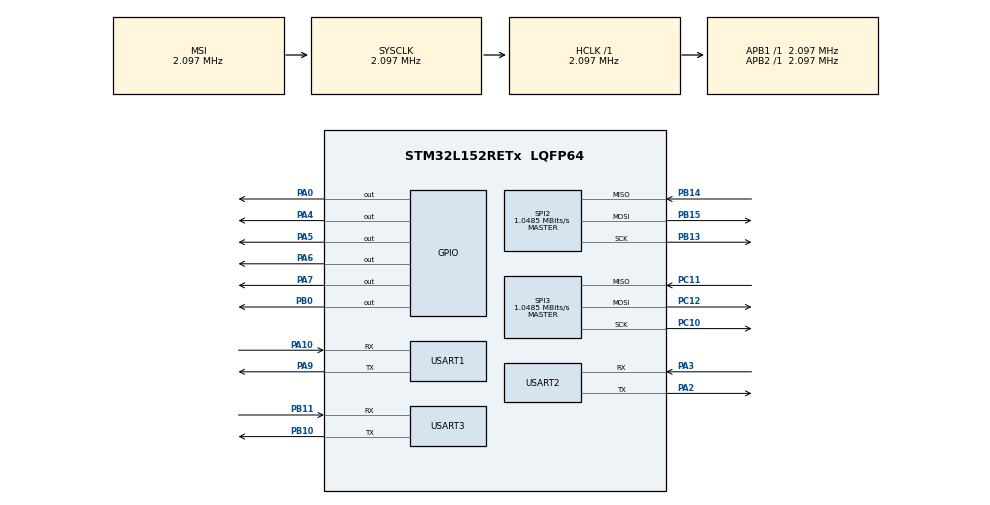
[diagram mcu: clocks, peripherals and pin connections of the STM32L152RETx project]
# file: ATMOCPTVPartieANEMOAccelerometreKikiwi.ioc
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Mcu.Family=STM32L1
Mcu.Name=STM32L152RETx
Mcu.Package=LQFP64
NVIC.PriorityGroup=NVIC_PRIORITYGROUP_4
PA0-WKUP1.Signal=GPIO_Output
PA10.Mode=Asynchronous
PA10.Signal=USART1_RX
PA2.Mode=Asynchronous
PA2.Signal=USART2_TX
PA3.Mode=Asynchronous
PA3.Signal=USART2_RX
PA4.Signal=GPIO_Output
PA5.Signal=GPIO_Output
PA6.Signal=GPIO_Output
PA7.Signal=GPIO_Output
PA9.Mode=Asynchronous
PA9.Signal=USART1_TX
PB0.Signal=GPIO_Output
PB10.Mode=Asynchronous
PB10.Signal=USART3_TX
PB11.Mode=Asynchronous
PB11.Signal=USART3_RX
PB13.Mode=Full_Duplex_Master
PB13.Signal=SPI2_SCK
PB14.Mode=Full_Duplex_Master
PB14.Signal=SPI2_MISO
PB15.Mode=Full_Duplex_Master
PB15.Signal=SPI2_MOSI
PC10.Mode=Full_Duplex_Master
PC10.Signal=SPI3_SCK
PC11.Mode=Full_Duplex_Master
PC11.Signal=SPI3_MISO
PC12.Mode=Full_Duplex_Master
PC12.Signal=SPI3_MOSI
PC14-OSC32_IN.Mode=LSE-External-Oscillator
PC14-OSC32_IN.Signal=RCC_OSC32_IN
PC15-OSC32_OUT.Mode=LSE-External-Oscillator
PC15-OSC32_OUT.Signal=RCC_OSC32_OUT
PH0-OSC_IN.Mode=HSE-External-Clock-Source
PH0-OSC_IN.Signal=RCC_OSC_IN
ProjectManager.HeapSize=0x200
ProjectManager.StackSize=0x400
ProjectManager.TargetToolchain=STM32CubeIDE
RCC.48MHZClocksFreq_Value=48000000
RCC.AHBFreq_Value=2097000
RCC.APB1Freq_Value=2097000
RCC.APB1TimFreq_Value=2097000
RCC.APB2Freq_Value=2097000
RCC.APB2TimFreq_Value=2097000
RCC.HCLKFreq_Value=2097000
RCC.HSE_VALUE=24000000
RCC.HSI_VALUE=16000000
RCC.MSI_VALUE=2097000
RCC.PLLDIV=RCC_PLL_DIV3
RCC.PLLMUL=RCC_PLL_MUL6
RCC.SYSCLKFreq_VALUE=2097000
RCC.VCOOutputFreq_Value=96000000
SPI2.BaudRatePrescaler=SPI_BAUDRATEPRESCALER_2
SPI2.CalculateBaudRate=1.0485 MBits/s
SPI2.Direction=SPI_DIRECTION_2LINES
SPI2.Mode=SPI_MODE_MASTER
SPI2.VirtualType=VM_MASTER
SPI3.BaudRatePrescaler=SPI_BAUDRATEPRESCALER_2
SPI3.CalculateBaudRate=1.0485 MBits/s
SPI3.Direction=SPI_DIRECTION_2LINES
SPI3.Mode=SPI_MODE_MASTER
SPI3.VirtualType=VM_MASTER
USART1.VirtualMode=VM_ASYNC
USART2.VirtualMode=VM_ASYNC
USART3.VirtualMode=VM_ASYNC
board=custom

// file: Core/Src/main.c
/* USER CODE BEGIN Header */
/**
  ******************************************************************************
  * @file           : main.c
  * @brief          : Main program body
  ******************************************************************************
  * @attention
  *
  * Copyright (c) 2025 STMicroelectronics.
  * All rights reserved.
  *
  * This software is licensed under terms that can be found in the LICENSE file
  * in the root directory of this software component.
  * If no LICENSE file comes with this software, it is provided AS-IS.
  *
  ******************************************************************************
  */

// %% Auteur du programme : PESCATORE MENARD
 	 	 	 	 	 	 	 	 	//%%%%%%%%%%%%%%%%%%%%%%%%%%%%%%%%%%%%%%%%%%%%%%%%%%%%%%%%%%%%%%%%%%%%%%%%%//
	      	       	         	    // 							CODE FINAL ATMOCPTV, partie 1 :				   //
									//contrôle des 3 capteurs météo, accéléromètre et transmissions UART Kikiwi//
	      	       	         	    //%%%%%%%%%%%%%%%%%%%%%%%%%%%%%%%%%%%%%%%%%%%%%%%%%%%%%%%%%%%%%%%%%%%%%%%%%//
// %% A l'ATTENTION DES UTILISATEURS : ce programme est fonctionnel et a été testé le 21/03/2025 en vue d'un lancement prévu initialement le 22/03/2025 %%
// %% A l'ATTENTION DES UTILISATEURS : la dernière modification des lignes de code date du 21/03/2025%%
// %% A l'ATTENTION DES UTILISATEURS : des lignes sont DELIBEREMENT présentes en double dans ce programme, NE PAS LES ENLEVER NI LES MODIFIER%%
// %% A l'ATTENTION DES UTILISATEURS : des lignes en doubles et les valeurs DELAIS ont été placés empiriquement pour optimiser la transmission Kikiwi %%
// %% A l'ATTENTION DES UTILISATEURS : toute modification des délais peut perturber gravement le processus de transmission par radio de la Kikiwi (la Kikiwi ne transmettrea plus les données des 3capteurs+ accéléromètre%%
// %% Pour toute question, vous pouvez me contacter via raphael.pescatore@gmail.com %%

/* USER CODE END Header */
#include "main.h"

/* USER CODE BEGIN Includes */
#include "BME.h"
#include "barometer.h"
#include <stdio.h>
#include <string.h>
#include "icm20948.h"
#include <string.h>
/* USER CODE END Includes */

SPI_HandleTypeDef hspi2;
SPI_HandleTypeDef hspi3;

UART_HandleTypeDef huart1;
UART_HandleTypeDef huart2;
UART_HandleTypeDef huart3;
#define XON 0x11
/* USER CODE BEGIN PV */

axises my_gyro;
axises my_accel;
axises my_mag;

extern uint32_t finalpressure_ref;
extern uint32_t final_humidity_ref;
extern int finaltemp_ref;
extern int temperature_raw_ref;
extern int pressure_raw_ref;

extern uint32_t finalpressure_N;
extern uint32_t final_humidity_N;
extern int finaltemp_N;
extern int pressure_raw_N;
/* USER CODE END PV */

void SystemClock_Config(void);
static void MX_GPIO_Init(void);
static void MX_USART2_UART_Init(void);
static void MX_SPI2_Init(void);
static void MX_SPI3_Init(void);
static void MX_USART1_UART_Init(void);
static void MX_USART3_UART_Init(void);
/* USER CODE BEGIN PFP */
int _write(int file, char *data, int len)
{
    HAL_UART_Transmit(&huart2, (uint8_t*)data, len, HAL_MAX_DELAY);
    return len;
}

/* USER CODE END PFP */

int main(void)
{

  /* USER CODE BEGIN 1 */
	    HAL_Init();
	    SystemClock_Config();

	    #define MAX_SAME_VALUE_COUNT 5

	    float last_accel_x = 0.0f;  // Dernière valeur de l'accéléromètre pour X
	    float last_accel_y = 0.0f;  // Dernière valeur de l'accéléromètre pour Y
	    int same_value_count_x = 0; // Compteur des mêmes valeurs pour X
	    int same_value_count_y = 0; // Compteur des mêmes valeurs pour Y
	    // Définition trames des données à envoyer à la carte Kikiwi
	    char buf2[48]; //75 octets, choix par sécurité, la taille est plus grande que 48 (limite Kikiwi)
	    uint8_t received_char; //1 octet, pour écouter les caractères XON avant d'envoyer nos mesures via le port série de la Kikiwi
  /* USER CODE END 1 */

  /* MCU Configuration--------------------------------------------------------*/

  /* Reset of all peripherals, Initializes the Flash interface and the Systick. */
  HAL_Init();

  /* Configure the system clock */
  SystemClock_Config();

  /* Initialize all configured peripherals */
  MX_GPIO_Init();
  MX_USART2_UART_Init();
  MX_SPI2_Init();
  MX_SPI3_Init();
  MX_USART1_UART_Init();
  MX_USART3_UART_Init();
  /* USER CODE BEGIN 2 */
  uint8_t data;
 		    printf("Coucou accéléromètre");
 		    icm20948_init();
 		     ak09916_init();
  /* USER CODE END 2 */

 		    /* Boucle infinie */
 		    /* USER CODE BEGIN WHILE */
 		   /* Configuration du capteur et initialisation des directions */
 		    HAL_Delay(1000);

 		    /* Activation, initialisation et désactivation de chaque capteur */

 		    BME280_CONFIG_SETUP_N();
 		      BME280_GET_COMP_VALS_N();
 		      HAL_Delay(1000);
 		    BME280_CONFIG_SETUP_ref();
 		    BME280_GET_COMP_VALS_ref();

 		    HAL_Delay(1000);

 		    Barometer_init_E();

 		    HAL_Delay(1000);

 		    BME280_CONFIG_SETUP_N();
 		        BME280_GET_COMP_VALS_N();

 		    printf("coucou Baromètre \n\r");
 		   int capture_count = 0;
	    while (1)
	    {
	        HAL_Delay(300);
	       // icm20948_wakeup();
	        // Lire les données des capteurs
	        icm20948_gyro_read_dps(&my_gyro);
	        icm20948_accel_read_g(&my_accel);
	        ak09916_mag_read_uT(&my_mag);

	        // Vérification pour l'axe X
	            if (my_accel.x == last_accel_x)
	            {
	                same_value_count_x++;
	            }
	            else
	            {
	                same_value_count_x = 0; // Réinitialiser le compteur si la valeur change
	            }

	            // Vérification pour l'axe Y
	            if (my_accel.y == last_accel_y)
	            {
	                same_value_count_y++;
	            }
	            else
	            {
	                same_value_count_y = 0; // Réinitialiser le compteur si la valeur change
	            }

	            // Si les valeurs de X et Y restent constantes pendant 5 itérations
	            if (same_value_count_x >= MAX_SAME_VALUE_COUNT && same_value_count_y >= MAX_SAME_VALUE_COUNT)
	            {
	                printf("Valeurs constantes détectées sur X et Y. Réinitialisation du programme.\n");

	                // Réinitialiser le capteur
	                icm20948_init();
	                ak09916_init();

	                // Réinitialiser les compteurs
	                same_value_count_x = 0;
	                same_value_count_y = 0;

	                // Réinitialisation éventuelle d'autres ressources si nécessaire
	            }

	            // Mettre à jour les dernières valeurs lues
	            last_accel_x = my_accel.x;
	            last_accel_y = my_accel.y;

	        // Afficher les données (ajouter vos fonctions d'affichage ici)
	        printf("Gyro: x = %f, y = %f, z = %f\n\r", my_gyro.x, my_gyro.y, my_gyro.z);
	        printf("Accel: x = %f, y = %f, z = %f\n\r", my_accel.x, my_accel.y, my_accel.z);
	        printf("Mag: x = %f, y = %f, z = %f\n\r", my_mag.x, my_mag.y, my_mag.z);
	      //  icm20948_sleep();

	        //%%%%%%%%%%%%%%%%%%%%%%%%%%%%%%%%%%%//
	      	       	         	         	        // PARTIE Transmission Accéléromètre//
	      	       	         	         	        //%%%%%%%%%%%%%%%%%%%%%%%%%%%%%%%%%%%//

	      	       	          			   // %%% transmission gyro%%%

	      	       	          	           snprintf(buf2, sizeof(buf2), "G %.2f ;%.2f ;%.2f ;\n",  my_gyro.x, my_gyro.y, my_gyro.z);
	      	       	          	           HAL_UART_Receive(&huart1, &received_char, 1, HAL_MAX_DELAY); // On attend  que la Kikiwi envoie XON

	      	       	          	           HAL_UART_Transmit(&huart1, (uint8_t*)buf2, strlen(buf2), HAL_MAX_DELAY); // transmission BME> Kikiwi au total 31 + 1(caractère \n ) octets
	      	       	          	     // HAL_Delay(1000);

	      	       	          	    // %%% transmission mag %%%
	      	       	          	   	       	          	           snprintf(buf2, sizeof(buf2), "M %.2f ;%.2f ;%.2f ;\n", my_mag.x,  my_mag.y, my_mag.z);
	      	       	          	   	       	          			  // HAL_UART_Receive(&huart1, &received_char, 1, HAL_MAX_DELAY); // On attend  que la Kikiwi envoie XON

	      	       	          	   	       	          			   HAL_UART_Transmit(&huart1, (uint8_t*)buf2, strlen(buf2), HAL_MAX_DELAY); // transmission BME> Kikiwi au total 31 + 1(caractère \n ) octets

	      	       	     	      	       	          	 //     HAL_Delay(1000);
	      	       	          	   	       	             /// TRANSMISSION DU NUMERO DE PAQUET et accélération///

	      	       	          	   	       	          HAL_Delay(3000);
	      	       	          	   	       	       	      	         snprintf(buf2, sizeof(buf2), "NumPaquet : %6d; A %.2f ;%.2f ;%.2f ;\n",capture_count++, my_accel.x,  my_accel.y, my_accel.z);
	      	       	          	   	       	       	      	       	      			   HAL_UART_Receive(&huart1, &received_char, 1, HAL_MAX_DELAY); // On attend  que la Kikiwi envoie XON

	      	       	          	   	       	       	      	       	      			   HAL_UART_Transmit(&huart1, (uint8_t*)buf2, strlen(buf2), HAL_MAX_DELAY); // transmission BME> Kikiwi au total 31 + 1(caractère \n ) octets

	      	       	          	   	       	       	      	         HAL_Delay(3000);
	      	       	          	   	       	       	      	       	 snprintf(buf2, sizeof(buf2), "%03d.%02d°C ;%d.%02d hPa ; %03d.%02d°C ;%d.%02d hPa ;\n", finaltemp_ref / 100, finaltemp_ref % 100, finalpressure_ref/100,finalpressure_ref%100,finaltemp_N / 100, finaltemp_N % 100, finalpressure_N/100,finalpressure_N%100);
	      	       	          	   	       	       	      	       		      			   HAL_UART_Receive(&huart1, &received_char, 1, HAL_MAX_DELAY); // On attend  que la Kikiwi envoie XON
	      	       	          	   	       	       	      	       		      			   // Cas où la chaîne KiwiRX est non vide> XON envoyé
	      	       	          	   	       	       	      	       		      			    HAL_UART_Transmit(&huart1, (uint8_t*)buf2, strlen(buf2), HAL_MAX_DELAY); // transmission BME> Kikiwi au total 31 + 1(caractère \n ) octets

	      	        //%%%%%%%%%%%%%%%%%%%%%%%%%%%%%%%%%%%//
	      	        // PARTIE BME//
	      	        //%%%%%%%%%%%%%%%%%%%%%%%%%%%%%%%%%%%//
	      	        BME280_GET_RAW_VALS_ref();
	      	           BME280_CALC_FINAL_VALS_ref();
	      	           printf("REF, Temperature: %d.%02d°C, Pressure: %d.%02d hPa\n\r",
	      	                   finaltemp_ref / 100, finaltemp_ref % 100, finalpressure_ref/100,finalpressure_ref%100);
	      	           HAL_Delay(1000); // A conserver, le capteur génère des erreurs autrement

	      	           // Lecture des données pour le capteur EXT, extérieur de la nacelle
	      	           BME280_GET_RAW_VALS_N();
	      	           BME280_CALC_FINAL_VALS_N();
	      	           printf("NORTH, Temperature: %d.%02d°C, Pressure: %d.%02d hPa\n\r",
	      	                   finaltemp_N / 100, finaltemp_N % 100, finalpressure_N/100,finalpressure_N%100);
	      	         HAL_Delay(1000);
	      	           // Lecture des données pour le baromètre - intérieur de la nacelle

	      	           int32_t pressure = Barometer_getPressure_E(true);
	      	           int32_t temp = Barometer_getTemp_E(true);

	      	           printf("EST, Temperature: %d.%02d°C, Pressure: %d.%02d hPa\n\r",
	      	                   temp/100, temp%100,pressure/100, pressure%100);

	      	           HAL_Delay(1000);
	      	         //  char filename[20];

	      	          // HAL_UART_Receive(&huart1, &received_char, 1, HAL_MAX_DELAY); // On attend  que la Kikiwi envoie XON

	      	           //%%%%%%%%%%%%%%%%%%%%%%%%%%%%%%%%%%%//
	      	         	        // PARTIE Transmission série Kikiwi//
	      	         	        //%%%%%%%%%%%%%%%%%%%%%%%%%%%%%%%%%%%//
	      	           // %%% transmission capteur ref %%%
	      	           snprintf(buf2, sizeof(buf2), "%03d.%02d°C ;%d.%02d hPa ; %03d.%02d°C ;%d.%02d hPa ;\n", finaltemp_ref / 100, finaltemp_ref % 100, finalpressure_ref/100,finalpressure_ref%100,finaltemp_N / 100, finaltemp_N % 100, finalpressure_N/100,finalpressure_N%100);
	      			   HAL_UART_Receive(&huart1, &received_char, 1, HAL_MAX_DELAY); // On attend  que la Kikiwi envoie XON
	      			   // Cas où la chaîne KiwiRX est non vide> XON envoyé
	      			    HAL_UART_Transmit(&huart1, (uint8_t*)buf2, strlen(buf2), HAL_MAX_DELAY); // transmission BME> Kikiwi au total 31 + 1(caractère \n ) octets

	      			   // %%% transmission capteur nord %%%

	      	           snprintf(buf2, sizeof(buf2), "%d.%02drH ;%d.%02drH ;%03d.%02d°C ;%d.%02d hPa ;\n", final_humidity_ref/1024, final_humidity_ref%1024, final_humidity_N/1024, final_humidity_N%1024, temp/100, temp%100,pressure/100, pressure%100);
	      	           HAL_UART_Receive(&huart1, &received_char, 1, HAL_MAX_DELAY); // On attend  que la Kikiwi envoie XON
	      	           // Cas où la chaîne KiwiRX est non vide> XON envoyé
	      	           HAL_UART_Transmit(&huart1, (uint8_t*)buf2, strlen(buf2), HAL_MAX_DELAY); // transmission BME> Kikiwi au total 31 + 1(caractère \n ) octets

	      			    HAL_Delay(2680);

    }
    /* USER CODE END WHILE */

}

void SystemClock_Config(void)
{
  RCC_OscInitTypeDef RCC_OscInitStruct = {0};
  RCC_ClkInitTypeDef RCC_ClkInitStruct = {0};

  /** Configure the main internal regulator output voltage
  */
  __HAL_PWR_VOLTAGESCALING_CONFIG(PWR_REGULATOR_VOLTAGE_SCALE1);

  /** Initializes the RCC Oscillators according to the specified parameters
  * in the RCC_OscInitTypeDef structure.
  */
  RCC_OscInitStruct.OscillatorType = RCC_OSCILLATORTYPE_MSI;
  RCC_OscInitStruct.MSIState = RCC_MSI_ON;
  RCC_OscInitStruct.MSICalibrationValue = 0;
  RCC_OscInitStruct.MSIClockRange = RCC_MSIRANGE_5;
  RCC_OscInitStruct.PLL.PLLState = RCC_PLL_NONE;
  if (HAL_RCC_OscConfig(&RCC_OscInitStruct) != HAL_OK)
  {
    Error_Handler();
  }

  /** Initializes the CPU, AHB and APB buses clocks
  */
  RCC_ClkInitStruct.ClockType = RCC_CLOCKTYPE_HCLK|RCC_CLOCKTYPE_SYSCLK
                              |RCC_CLOCKTYPE_PCLK1|RCC_CLOCKTYPE_PCLK2;
  RCC_ClkInitStruct.SYSCLKSource = RCC_SYSCLKSOURCE_MSI;
  RCC_ClkInitStruct.AHBCLKDivider = RCC_SYSCLK_DIV1;
  RCC_ClkInitStruct.APB1CLKDivider = RCC_HCLK_DIV1;
  RCC_ClkInitStruct.APB2CLKDivider = RCC_HCLK_DIV1;

  if (HAL_RCC_ClockConfig(&RCC_ClkInitStruct, FLASH_LATENCY_0) != HAL_OK)
  {
    Error_Handler();
  }
}

static void MX_SPI2_Init(void)
{

  /* SPI2 parameter configuration*/
  hspi2.Instance = SPI2;
  hspi2.Init.Mode = SPI_MODE_MASTER;
  hspi2.Init.Direction = SPI_DIRECTION_2LINES;
  hspi2.Init.DataSize = SPI_DATASIZE_8BIT;
  hspi2.Init.CLKPolarity = SPI_POLARITY_LOW;
  hspi2.Init.CLKPhase = SPI_PHASE_1EDGE;
  hspi2.Init.NSS = SPI_NSS_SOFT;
  hspi2.Init.BaudRatePrescaler = SPI_BAUDRATEPRESCALER_2;
  hspi2.Init.FirstBit = SPI_FIRSTBIT_MSB;
  hspi2.Init.TIMode = SPI_TIMODE_DISABLE;
  hspi2.Init.CRCCalculation = SPI_CRCCALCULATION_DISABLE;
  hspi2.Init.CRCPolynomial = 10;
  if (HAL_SPI_Init(&hspi2) != HAL_OK)
  {
    Error_Handler();
  }

}

static void MX_SPI3_Init(void)
{

  /* SPI3 parameter configuration*/
  hspi3.Instance = SPI3;
  hspi3.Init.Mode = SPI_MODE_MASTER;
  hspi3.Init.Direction = SPI_DIRECTION_2LINES;
  hspi3.Init.DataSize = SPI_DATASIZE_8BIT;
  hspi3.Init.CLKPolarity = SPI_POLARITY_LOW;
  hspi3.Init.CLKPhase = SPI_PHASE_1EDGE;
  hspi3.Init.NSS = SPI_NSS_SOFT;
  hspi3.Init.BaudRatePrescaler = SPI_BAUDRATEPRESCALER_2;
  hspi3.Init.FirstBit = SPI_FIRSTBIT_MSB;
  hspi3.Init.TIMode = SPI_TIMODE_DISABLE;
  hspi3.Init.CRCCalculation = SPI_CRCCALCULATION_DISABLE;
  hspi3.Init.CRCPolynomial = 10;
  if (HAL_SPI_Init(&hspi3) != HAL_OK)
  {
    Error_Handler();
  }

}

static void MX_USART1_UART_Init(void)
{

  huart1.Instance = USART1;
  huart1.Init.BaudRate = 115200;
  huart1.Init.WordLength = UART_WORDLENGTH_8B;
  huart1.Init.StopBits = UART_STOPBITS_1;
  huart1.Init.Parity = UART_PARITY_NONE;
  huart1.Init.Mode = UART_MODE_TX_RX;
  huart1.Init.HwFlowCtl = UART_HWCONTROL_NONE;
  huart1.Init.OverSampling = UART_OVERSAMPLING_16;
  if (HAL_UART_Init(&huart1) != HAL_OK)
  {
    Error_Handler();
  }

}

static void MX_USART2_UART_Init(void)
{

  huart2.Instance = USART2;
  huart2.Init.BaudRate = 115200;
  huart2.Init.WordLength = UART_WORDLENGTH_8B;
  huart2.Init.StopBits = UART_STOPBITS_1;
  huart2.Init.Parity = UART_PARITY_NONE;
  huart2.Init.Mode = UART_MODE_TX_RX;
  huart2.Init.HwFlowCtl = UART_HWCONTROL_NONE;
  huart2.Init.OverSampling = UART_OVERSAMPLING_16;
  if (HAL_UART_Init(&huart2) != HAL_OK)
  {
    Error_Handler();
  }

}

static void MX_USART3_UART_Init(void)
{

  huart3.Instance = USART3;
  huart3.Init.BaudRate = 115200;
  huart3.Init.WordLength = UART_WORDLENGTH_8B;
  huart3.Init.StopBits = UART_STOPBITS_1;
  huart3.Init.Parity = UART_PARITY_NONE;
  huart3.Init.Mode = UART_MODE_TX_RX;
  huart3.Init.HwFlowCtl = UART_HWCONTROL_NONE;
  huart3.Init.OverSampling = UART_OVERSAMPLING_16;
  if (HAL_UART_Init(&huart3) != HAL_OK)
  {
    Error_Handler();
  }

}

static void MX_GPIO_Init(void)
{
  GPIO_InitTypeDef GPIO_InitStruct = {0};

  /* GPIO Ports Clock Enable */
  __HAL_RCC_GPIOC_CLK_ENABLE();
  __HAL_RCC_GPIOH_CLK_ENABLE();
  __HAL_RCC_GPIOA_CLK_ENABLE();
  __HAL_RCC_GPIOB_CLK_ENABLE();

  /*Configure GPIO pin Output Level */
  HAL_GPIO_WritePin(GPIOA, GPIO_PIN_0|GPIO_PIN_4|GPIO_PIN_5|GPIO_PIN_6
                          |GPIO_PIN_7, GPIO_PIN_RESET);

  /*Configure GPIO pin Output Level */
  HAL_GPIO_WritePin(GPIOB, GPIO_PIN_0, GPIO_PIN_RESET);

  /*Configure GPIO pins : PA0 PA4 PA5 PA6
                           PA7 */
  GPIO_InitStruct.Pin = GPIO_PIN_0|GPIO_PIN_4|GPIO_PIN_5|GPIO_PIN_6
                          |GPIO_PIN_7;
  GPIO_InitStruct.Mode = GPIO_MODE_OUTPUT_PP;
  GPIO_InitStruct.Pull = GPIO_NOPULL;
  GPIO_InitStruct.Speed = GPIO_SPEED_FREQ_LOW;
  HAL_GPIO_Init(GPIOA, &GPIO_InitStruct);

  /*Configure GPIO pin : PB0 */
  GPIO_InitStruct.Pin = GPIO_PIN_0;
  GPIO_InitStruct.Mode = GPIO_MODE_OUTPUT_PP;
  GPIO_InitStruct.Pull = GPIO_NOPULL;
  GPIO_InitStruct.Speed = GPIO_SPEED_FREQ_LOW;
  HAL_GPIO_Init(GPIOB, &GPIO_InitStruct);

}

void Error_Handler(void)
{
  __disable_irq();
  while (1)
  {
  }
}
